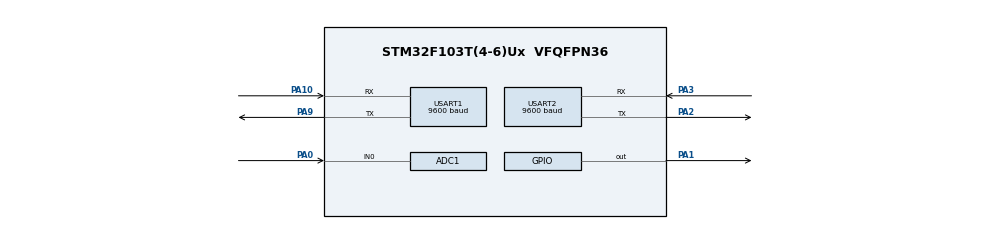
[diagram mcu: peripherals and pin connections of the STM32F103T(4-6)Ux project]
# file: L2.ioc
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ADC1.Channel-0\#ChannelRegularConversion=ADC_CHANNEL_0
ADC1.NbrOfConversionFlag=1
ADC1.Rank-0\#ChannelRegularConversion=1
ADC1.SamplingTime-0\#ChannelRegularConversion=ADC_SAMPLETIME_1CYCLE_5
ADC1.master=1
Mcu.Family=STM32F1
Mcu.Name=STM32F103T(4-6)Ux
Mcu.Package=VFQFPN36
NVIC.ADC1_2_IRQn=true\:0\:0\:false\:false\:true\:true\:true\:true
NVIC.PriorityGroup=NVIC_PRIORITYGROUP_4
NVIC.USART1_IRQn=true\:0\:0\:false\:false\:true\:true\:true\:true
NVIC.USART2_IRQn=true\:0\:0\:false\:false\:true\:true\:true\:true
PA0-WKUP.Signal=ADCx_IN0
PA1.PinState=GPIO_PIN_SET
PA1.Signal=GPIO_Output
PA10.Mode=Asynchronous
PA10.Signal=USART1_RX
PA2.Mode=Asynchronous
PA2.Signal=USART2_TX
PA3.Mode=Asynchronous
PA3.Signal=USART2_RX
PA9.Mode=Asynchronous
PA9.Signal=USART1_TX
ProjectManager.HeapSize=0x200
ProjectManager.StackSize=0x400
ProjectManager.TargetToolchain=STM32CubeIDE
RCC.APB1Freq_Value=8000000
RCC.APB2Freq_Value=8000000
SH.ADCx_IN0.0=ADC1_IN0,IN0
USART1.BaudRate=9600
USART1.VirtualMode=VM_ASYNC
USART2.BaudRate=9600
USART2.VirtualMode=VM_ASYNC
VP_SYS_VS_ND.Mode=No_Debug
board=custom

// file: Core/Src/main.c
/* USER CODE BEGIN Header */
/**
  ******************************************************************************
  * @file           : main.c
  * @brief          : Main program body
  ******************************************************************************
  * @attention
  *
  * Copyright (c) 2024 STMicroelectronics.
  * All rights reserved.
  *
  * This software is licensed under terms that can be found in the LICENSE file
  * in the root directory of this software component.
  * If no LICENSE file comes with this software, it is provided AS-IS.
  *
  ******************************************************************************
  */
/* USER CODE END Header */
#include "main.h"

ADC_HandleTypeDef hadc1;

UART_HandleTypeDef huart1;
UART_HandleTypeDef huart2;

/* USER CODE BEGIN PV */
#define UART_RX_BUFFER_SIZE 50

char uart2_rx_buffer[UART_RX_BUFFER_SIZE];
uint8_t uart2_rx_index = 0;
char uart1_tx_buffer[50];
uint8_t uart2_rx_data;
/* USER CODE END PV */

void SystemClock_Config(void);
static void MX_GPIO_Init(void);
static void MX_USART1_UART_Init(void);
static void MX_ADC1_Init(void);
static void MX_USART2_UART_Init(void);

/* USER CODE BEGIN 0 */
uint32_t read_adc_value() {
    HAL_ADC_Start(&hadc1);
    HAL_ADC_PollForConversion(&hadc1, 200);
    uint32_t value = HAL_ADC_GetValue(&hadc1);
    HAL_ADC_Stop(&hadc1);
    return value;
}
/* USER CODE END 0 */

int main(void)
{

  /* MCU Configuration--------------------------------------------------------*/

  /* Reset of all peripherals, Initializes the Flash interface and the Systick. */
  HAL_Init();

  /* Configure the system clock */
  SystemClock_Config();

  /* Initialize all configured peripherals */
  MX_GPIO_Init();
  MX_USART1_UART_Init();
  MX_ADC1_Init();
  MX_USART2_UART_Init();
  /* USER CODE BEGIN 2 */
  char text[250];
  sprintf(text, "Hello %d \r\n", 10);
  /* USER CODE END 2 */

  /* Infinite loop */
  /* USER CODE BEGIN WHILE */
  HAL_UART_Receive_IT(&huart2, &uart2_rx_data, 1);
  while (1)
  {
	  uint32_t value = read_adc_value();
	  sprintf(text, "ADC value: %d \r\n", value);
	  HAL_UART_Transmit_IT(&huart1, (uint8_t*)text, strlen(text));
	  HAL_Delay(1000);
    /* USER CODE END WHILE */

  }
}

void SystemClock_Config(void)
{
  RCC_OscInitTypeDef RCC_OscInitStruct = {0};
  RCC_ClkInitTypeDef RCC_ClkInitStruct = {0};
  RCC_PeriphCLKInitTypeDef PeriphClkInit = {0};

  /** Initializes the RCC Oscillators according to the specified parameters
  * in the RCC_OscInitTypeDef structure.
  */
  RCC_OscInitStruct.OscillatorType = RCC_OSCILLATORTYPE_HSI;
  RCC_OscInitStruct.HSIState = RCC_HSI_ON;
  RCC_OscInitStruct.HSICalibrationValue = RCC_HSICALIBRATION_DEFAULT;
  RCC_OscInitStruct.PLL.PLLState = RCC_PLL_NONE;
  if (HAL_RCC_OscConfig(&RCC_OscInitStruct) != HAL_OK)
  {
    Error_Handler();
  }

  /** Initializes the CPU, AHB and APB buses clocks
  */
  RCC_ClkInitStruct.ClockType = RCC_CLOCKTYPE_HCLK|RCC_CLOCKTYPE_SYSCLK
                              |RCC_CLOCKTYPE_PCLK1|RCC_CLOCKTYPE_PCLK2;
  RCC_ClkInitStruct.SYSCLKSource = RCC_SYSCLKSOURCE_HSI;
  RCC_ClkInitStruct.AHBCLKDivider = RCC_SYSCLK_DIV1;
  RCC_ClkInitStruct.APB1CLKDivider = RCC_HCLK_DIV1;
  RCC_ClkInitStruct.APB2CLKDivider = RCC_HCLK_DIV1;

  if (HAL_RCC_ClockConfig(&RCC_ClkInitStruct, FLASH_LATENCY_0) != HAL_OK)
  {
    Error_Handler();
  }
  PeriphClkInit.PeriphClockSelection = RCC_PERIPHCLK_ADC;
  PeriphClkInit.AdcClockSelection = RCC_ADCPCLK2_DIV2;
  if (HAL_RCCEx_PeriphCLKConfig(&PeriphClkInit) != HAL_OK)
  {
    Error_Handler();
  }
}

static void MX_ADC1_Init(void)
{

  ADC_ChannelConfTypeDef sConfig = {0};

  /** Common config
  */
  hadc1.Instance = ADC1;
  hadc1.Init.ScanConvMode = ADC_SCAN_DISABLE;
  hadc1.Init.ContinuousConvMode = DISABLE;
  hadc1.Init.DiscontinuousConvMode = DISABLE;
  hadc1.Init.ExternalTrigConv = ADC_SOFTWARE_START;
  hadc1.Init.DataAlign = ADC_DATAALIGN_RIGHT;
  hadc1.Init.NbrOfConversion = 1;
  if (HAL_ADC_Init(&hadc1) != HAL_OK)
  {
    Error_Handler();
  }

  /** Configure Regular Channel
  */
  sConfig.Channel = ADC_CHANNEL_0;
  sConfig.Rank = ADC_REGULAR_RANK_1;
  sConfig.SamplingTime = ADC_SAMPLETIME_1CYCLE_5;
  if (HAL_ADC_ConfigChannel(&hadc1, &sConfig) != HAL_OK)
  {
    Error_Handler();
  }

}

static void MX_USART1_UART_Init(void)
{

  huart1.Instance = USART1;
  huart1.Init.BaudRate = 9600;
  huart1.Init.WordLength = UART_WORDLENGTH_8B;
  huart1.Init.StopBits = UART_STOPBITS_1;
  huart1.Init.Parity = UART_PARITY_NONE;
  huart1.Init.Mode = UART_MODE_TX_RX;
  huart1.Init.HwFlowCtl = UART_HWCONTROL_NONE;
  huart1.Init.OverSampling = UART_OVERSAMPLING_16;
  if (HAL_UART_Init(&huart1) != HAL_OK)
  {
    Error_Handler();
  }

}

static void MX_USART2_UART_Init(void)
{

  huart2.Instance = USART2;
  huart2.Init.BaudRate = 9600;
  huart2.Init.WordLength = UART_WORDLENGTH_8B;
  huart2.Init.StopBits = UART_STOPBITS_1;
  huart2.Init.Parity = UART_PARITY_NONE;
  huart2.Init.Mode = UART_MODE_TX_RX;
  huart2.Init.HwFlowCtl = UART_HWCONTROL_NONE;
  huart2.Init.OverSampling = UART_OVERSAMPLING_16;
  if (HAL_UART_Init(&huart2) != HAL_OK)
  {
    Error_Handler();
  }

}

static void MX_GPIO_Init(void)
{
  GPIO_InitTypeDef GPIO_InitStruct = {0};

  /* GPIO Ports Clock Enable */
  __HAL_RCC_GPIOA_CLK_ENABLE();

  /*Configure GPIO pin Output Level */
  HAL_GPIO_WritePin(GPIOA, GPIO_PIN_1, GPIO_PIN_SET);

  /*Configure GPIO pin : PA1 */
  GPIO_InitStruct.Pin = GPIO_PIN_1;
  GPIO_InitStruct.Mode = GPIO_MODE_OUTPUT_PP;
  GPIO_InitStruct.Pull = GPIO_NOPULL;
  GPIO_InitStruct.Speed = GPIO_SPEED_FREQ_LOW;
  HAL_GPIO_Init(GPIOA, &GPIO_InitStruct);

}

/* USER CODE BEGIN 4 */
#define IS_PRINTABLE_ASCII(c) ((c) >= 32 && (c) <= 126)

void HAL_UART_RxCpltCallback(UART_HandleTypeDef *huart)
{
  if (huart->Instance == USART2) {
    if (uart2_rx_data != '\r') {
      if (IS_PRINTABLE_ASCII(uart2_rx_data)) {
    	// Add the received data to the RX buffer
        uart2_rx_buffer[uart2_rx_index++] = uart2_rx_data;

        // If the RX buffer is full, reset the index to the beginning
        if (uart2_rx_index >= UART_RX_BUFFER_SIZE - 1) {
          uart2_rx_index = 0;
        }
      }
    } else {
      uart2_rx_buffer[uart2_rx_index] = '\0';
      processCommand(uart2_rx_buffer);
      uart2_rx_index = 0;
    }
    HAL_UART_Receive_IT(&huart2, &uart2_rx_data, 1);
  }
}

void processCommand(char* command) {
    if (strcmp(command, "LED ON") == 0) {
        setLedState(GPIO_PIN_SET, "LED is ON\r\n");
    } else if (strcmp(command, "LED OFF") == 0) {
        setLedState(GPIO_PIN_RESET, "LED is OFF\r\n");
    } else {
        sendUnknownCommandResponse(command);
    }
}

void setLedState(uint16_t state, char* response) {
    HAL_GPIO_WritePin(GPIOA, GPIO_PIN_1, state);
    sendResponse(response);
}

void sendUnknownCommandResponse(char* command) {
    char response[50];
    snprintf(response, sizeof(response), "Unknown command: %s\r\n", command);
    sendResponse(response);
}

void sendResponse(char* response) {
    HAL_UART_Transmit(&huart1, (uint8_t*)response, strlen(response), HAL_MAX_DELAY);
}
/* USER CODE END 4 */

void Error_Handler(void)
{
  __disable_irq();
  while (1)
  {
  }
}
